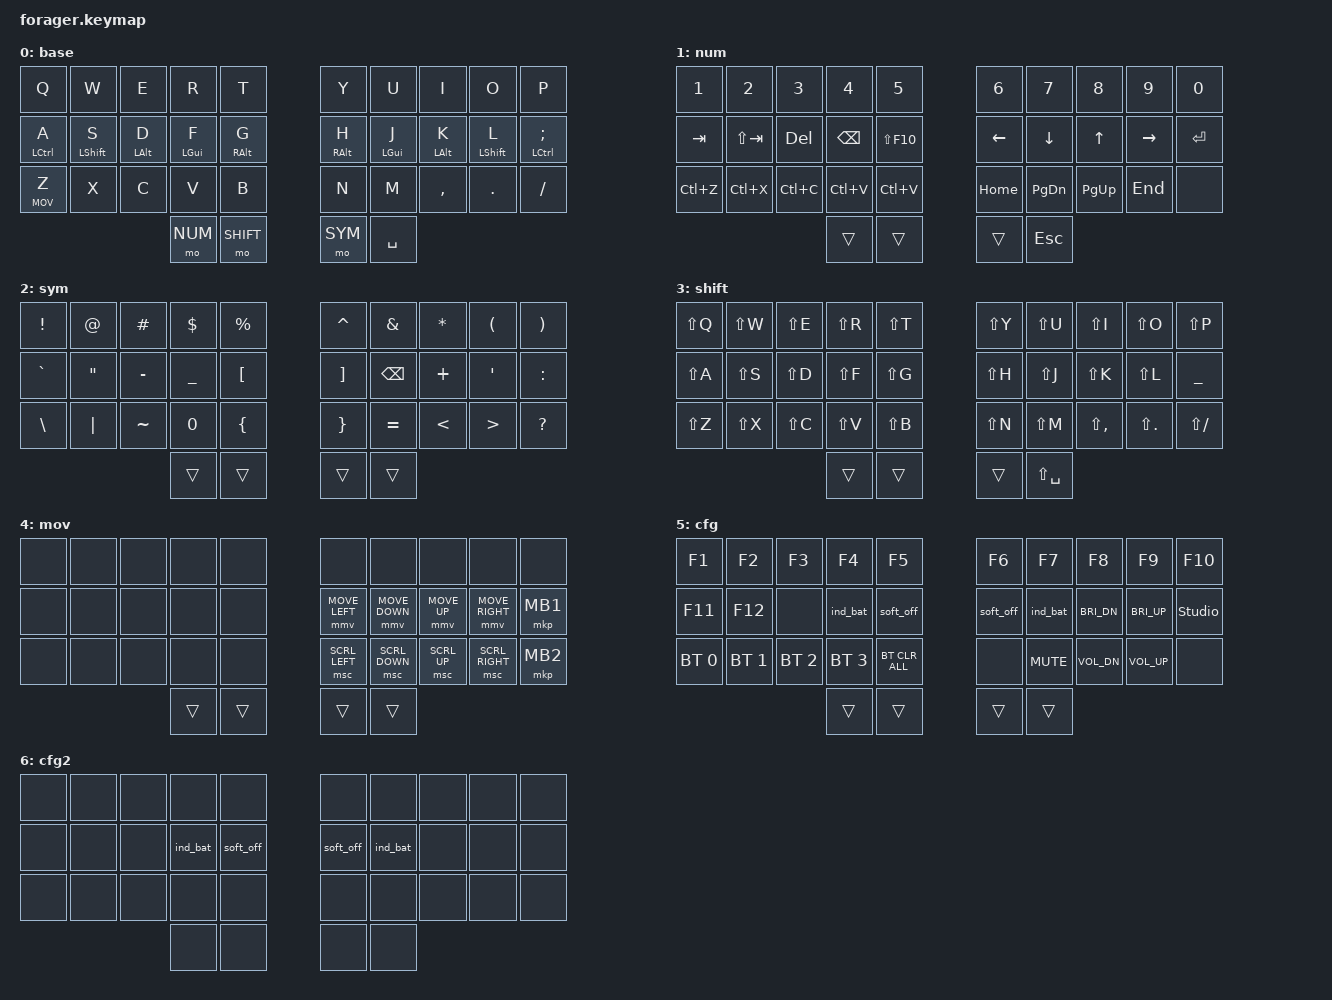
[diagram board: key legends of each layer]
#include <behaviors.dtsi>
#include <dt-bindings/zmk/keys.h>
#include <dt-bindings/zmk/bt.h>
#include <dt-bindings/zmk/outputs.h>

#include <behaviors/rgbled_widget.dtsi>

#define ZMK_POINTING_DEFAULT_MOVE_VAL 1800
#define ZMK_POINTING_DEFAULT_SCRL_VAL 40
#include <dt-bindings/zmk/pointing.h>

#define BASE  0
#define NUM   1
#define SYM   2
#define SHIFT 3
#define MOV   4
#define CFG   5
#define CFG2  6

/ {
    behaviors {
        lhm: left_homerow_mods {
            compatible = "zmk,behavior-hold-tap";
            #binding-cells = <2>;
            flavor = "tap-preferred";
            tapping-term-ms = <200>;
            quick-tap-ms = <200>;
            retro-tap;
            bindings = <&kp>, <&kp>;
        };
        rhm: right_homerow_mods {
            compatible = "zmk,behavior-hold-tap";
            #binding-cells = <2>;
            flavor = "tap-preferred";
            tapping-term-ms = <200>;
            quick-tap-ms = <200>;
            retro-tap;
            bindings = <&kp>, <&kp>;
        };
    };

    conditional_layers {
        compatible = "zmk,conditional-layers";
        cfg_layer {
            if-layers = <NUM SYM>;
            then-layer = <CFG>;
        };
    };

    combos {
        compatible = "zmk,combos";

        left_thumb_cfg {
            timeout-ms = <50>;
            key-positions = <30 31>;
            bindings = <&mo CFG2>;
        };

        right_thumb_cfg {
            timeout-ms = <50>;
            key-positions = <32 33>;
            bindings = <&mo CFG2>;
        };
    };

    keymap {
        compatible = "zmk,keymap";

        base {
            bindings = <
            &kp Q           &kp W           &kp E           &kp R           &kp T                                           &kp Y           &kp U           &kp I           &kp O           &kp P
            &lhm LCTRL A    &lhm LSHFT S    &lhm LALT D     &lhm LGUI F     &rhm RALT G                                     &rhm RALT H     &rhm LGUI J     &rhm LALT K     &rhm LSHFT L    &rhm LCTRL SEMI
            &lt MOV Z       &kp X           &kp C           &kp V           &kp B                                           &kp N           &kp M           &kp COMMA       &kp DOT         &kp FSLH
                                                                            &mo NUM         &mo SHIFT       &mo SYM         &kp SPACE
            >;
        };

        num {
            bindings = <
            &kp N1          &kp N2          &kp N3          &kp N4          &kp N5                                          &kp N6          &kp N7          &kp N8          &kp N9          &kp N0
            &kp TAB         &kp LS(TAB)     &kp DEL         &kp BSPC        &kp LS(F10)                                     &kp LEFT        &kp DOWN        &kp UP          &kp RIGHT       &kp ENTER
            &kp LC(Z)       &kp LC(X)       &kp LC(C)       &kp LC(V)       &kp LC(V)                                       &kp HOME        &kp PG_DN       &kp PG_UP       &kp END         &none
                                                                            &trans          &trans          &trans          &kp ESC
            >;
        };

        sym {
            bindings = <
            &kp EXCL        &kp AT          &kp HASH        &kp DLLR        &kp PRCNT                                       &kp CARET       &kp AMPS        &kp ASTRK       &kp LPAR        &kp RPAR
            &kp GRAVE       &kp DQT         &kp MINUS       &kp UNDER       &kp LBKT                                        &kp RBKT        &kp BSPC        &kp PLUS        &kp SQT         &kp COLON
            &kp BSLH        &kp PIPE        &kp TILDE       &kp N0          &kp LBRC                                        &kp RBRC        &kp EQUAL       &kp LT          &kp GT          &kp QMARK
                                                                            &trans          &trans          &trans          &trans
            >;
        };

        shift {
            bindings = <
            &kp LS(Q)       &kp LS(W)       &kp LS(E)       &kp LS(R)       &kp LS(T)                                       &kp LS(Y)       &kp LS(U)       &kp LS(I)       &kp LS(O)       &kp LS(P)
            &kp LS(A)       &kp LS(S)       &kp LS(D)       &kp LS(F)       &kp LS(G)                                       &kp LS(H)       &kp LS(J)       &kp LS(K)       &kp LS(L)       &kp UNDER
            &kp LS(Z)       &kp LS(X)       &kp LS(C)       &kp LS(V)       &kp LS(B)                                       &kp LS(N)       &kp LS(M)       &kp LS(COMMA)   &kp LS(DOT)     &kp LS(FSLH)
                                                                            &trans          &trans          &trans          &kp LS(SPACE)
            >;
        };

        mov {
            bindings = <
            &none           &none           &none           &none           &none                                           &none           &none           &none           &none           &none
            &none           &none           &none           &none           &none                                           &mmv MOVE_LEFT  &mmv MOVE_DOWN  &mmv MOVE_UP    &mmv MOVE_RIGHT &mkp MB1
            &none           &none           &none           &none           &none                                           &msc SCRL_LEFT  &msc SCRL_DOWN  &msc SCRL_UP    &msc SCRL_RIGHT &mkp MB2
                                                                            &trans          &trans          &trans          &trans
            >;
        };

        cfg {
            bindings = <
            &kp F1          &kp F2          &kp F3          &kp F4          &kp F5                                          &kp F6          &kp F7          &kp F8          &kp F9          &kp F10
            &kp F11         &kp F12         &none           &ind_bat        &soft_off                                       &soft_off       &ind_bat        &kp C_BRI_DN    &kp C_BRI_UP    &studio_unlock
            &bt BT_SEL 0    &bt BT_SEL 1    &bt BT_SEL 2    &bt BT_SEL 3    &bt BT_CLR_ALL                                  &none           &kp C_MUTE      &kp C_VOL_DN    &kp C_VOL_UP    &none
                                                                            &trans          &trans          &trans          &trans
            >;
        };

        cfg2 {
            bindings = <
            &none           &none           &none           &none           &none                                           &none           &none           &none           &none           &none
            &none           &none           &none           &ind_bat        &soft_off                                       &soft_off       &ind_bat        &none           &none           &none
            &none           &none           &none           &none           &none                                           &none           &none           &none           &none           &none
                                                                            &none           &none           &none           &none
            >;
        };
    };
};

&soft_off {
    hold-time-ms = <3000>;
};

&lt {
    tapping-term-ms = <200>;
    quick-tap-ms = <200>;
};

&mt {
    tapping-term-ms = <200>;
    quick-tap-ms = <200>;
};

&sk {
    release-after-ms = <100>;
    quick-release;
};

&mmv {
    delay-ms = <10>;
    time-to-max-speed-ms = <900>;
    acceleration-exponent = <1>;
};

&msc {
    delay-ms = <100>;
    time-to-max-speed-ms = <100>;
    acceleration-exponent = <0>;
};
